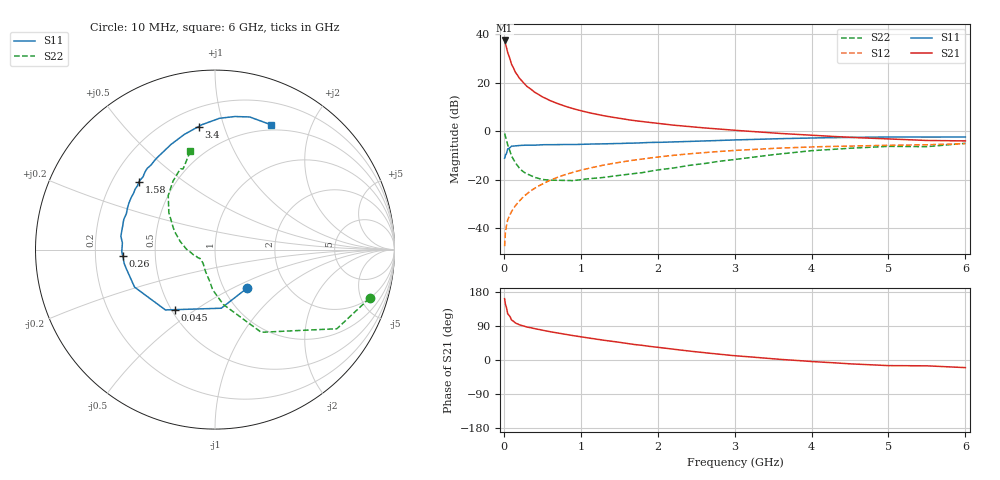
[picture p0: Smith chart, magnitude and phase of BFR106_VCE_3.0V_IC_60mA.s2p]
! Infineon Technologies  Discrete & RF Semiconductors
! BFR106
! VCE =  3.0 V,  IC =  60 mA
! Common Emitter S-Parameters:  Nov 2015
# GHz  S  MA  R  50
!  f  S11  S21  S12  S22
! GHz  MAG  ANG  MAG  ANG  MAG  ANG  MAG  ANG
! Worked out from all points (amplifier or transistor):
!   210 points, 10 MHz to 6 GHz, reference 50 ohm
!   highest |S21| = 37.4 dB at 10 MHz (marker M1)
!   |S21| within 3 dB of that: start of sweep to 34.95 MHz
!   unconditionally stable (mu >= 1): 224.2 MHz to 2.481 GHz; 5.457 GHz to 5.954 GHz
!   at 185 MHz: K = 0.96, MSG = 26.0 dB, |S12| = -29.3 dB
!   at 1.52 GHz: K = 1.05, MAG = 7.6 dB, |S12| = -12.7 dB
!   at 6 GHz: K = 1.00, MSG = 0.5 dB, |S12| = -5.1 dB
!   S11 on the Smith chart (normalised r, x): 10 MHz: 1.29, -0.59; 45 MHz: 0.52, -0.42; 260 MHz: 0.32, -0.03; 1.58 GHz: 0.31, +0.35; 3.4 GHz: 0.31, +0.83; 6 GHz: 0.44, +1.45
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0.01  0.2794 -49.7  74.39 161.8  0.0043 80.4  0.9026 -17.5
0.02  0.3285 -83.9  65.83 147.4  0.0081 71.8  0.8096 -33.0
0.045  0.4029 -123.8  45.1 127.9  0.0137 62.6  0.5626 -54.4
0.05  0.4351 -129.4  41.94 121.9  0.0149 61.6  0.5277 -60.8
0.1  0.4945 -155.0  24.07 105.5  0.0221 62.0  0.3089 -81.4
0.15  0.5027 -165.7  16.49 97.7  0.0293 65.4  0.2239 -93.4
0.2  0.5116 -171.2  12.57 93.1  0.0364 68.7  0.176 -100.1
0.24  0.5134 -174.6  10.58 90.4  0.0424 70.0  0.1526 -106.1
0.26  0.5151 -176.1  9.753 89.2  0.0454 70.6  0.1443 -108.9
0.3  0.5195 -178.7  8.44 87.0  0.0516 71.8  0.1334 -113.3
0.4  0.5173 175.9  6.393 82.6  0.0668 72.6  0.1127 -122.8
0.5  0.5298 171.9  5.136 78.5  0.0819 72.3  0.1017 -130.0
0.6  0.5293 167.9  4.301 74.7  0.0977 71.4  0.0986 -135.0
0.7  0.5325 164.3  3.717 71.0  0.1129 70.5  0.0986 -140.1
1.02  0.5406 154.1  2.608 60.8  0.1608 66.3  0.1018 -152.2
1.58  0.567 138.4  1.768 44.4  0.2402 57.6  0.1282 -169.2
2.02  0.592 126.8  1.44 33.0  0.2973 50.6  0.1614 178.3
3.1  0.67 103.0  1.023 9.8  0.4115 33.2  0.2749 149.8
3.4  0.6916 97.6  0.946 4.8  0.4372 28.7  0.3153 143.1
4.1  0.7349 86.7  0.813 -5.1  0.4813 18.3  0.4075 128.8
5.1  0.7627 74.2  0.685 -14.9  0.5184 6.1  0.4884 112.9
6  0.762 65.8  0.634 -20.1  0.5586 -3.2  0.5648 104.1
